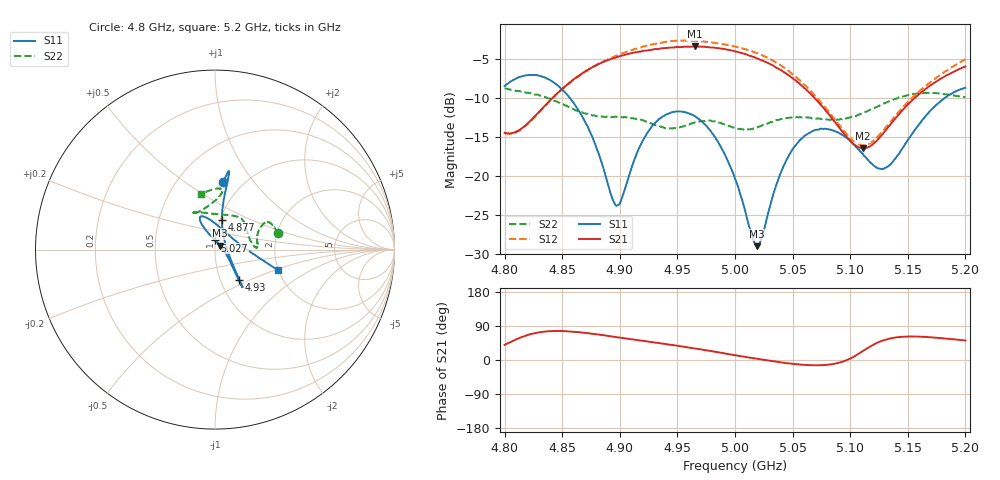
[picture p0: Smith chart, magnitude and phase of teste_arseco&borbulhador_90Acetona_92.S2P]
! Network Analyzer HP8722D
! Hewlett-Packard
! Data name: Linha & Wilkinson
! Saver's name: Rodrigo Anjos
! Comments: Teste da utilização de aquisição
! continua pelo VNA HP8722D
! Time and date: 17/4/2025 11:49
!  Frequency  S11  S21  S12  S22
# HZ  S  MA R 50
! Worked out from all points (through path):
!   401 points, 4.8 GHz to 5.2 GHz, reference 50 ohm
!   highest |S21| = -3.41 dB at 4.965 GHz (marker M1); lowest = -16.5 dB at 5.111 GHz (marker M2)
!   lowest |S11| = -29.0 dB at 5.019 GHz (marker M3), VSWR 1.07, Z = 52.8 + j2.38 ohm
!   |S11| at or under -10 dB: 4.857 GHz to 5.182 GHz (325.4 MHz wide, 6.48 % of centre)
!   |S22| runs from -14.1 to -8.8 dB; largest |S21 - S12| = 0.24
!   S11 on the Smith chart (normalised r, x): 4.8 GHz: 0.81, +0.71; 4.877 GHz: 1.02, +0.35; 4.93 GHz: 1.23, -0.43; 5.027 GHz: 1.00, +0.10; 5.2 GHz: 1.98, -0.52
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4.8e9  0.3766 83.6  0.1894 40.0  0.1885 0.1  0.3623 14.6
4.834e9  0.4296 79.6  0.2778 74.7  0.2748 38.2  0.3219 28.4
4.867e9  0.2429 79.8  0.4529 72.5  0.4489 42.7  0.2568 21.0
4.877e9  0.1718 76.8  0.5014 68.9  0.4997 41.8  0.2448 16.2
4.893e9  0.07388 44.0  0.564 62.0  0.5728 39.4  0.2393 9.0
4.898e9  0.06505 14.1  0.5792 59.9  0.5916 38.6  0.2384 6.8
4.916e9  0.147 -43.5  0.6232 52.1  0.6585 34.6  0.2318 2.9
4.93e9  0.2161 -51.1  0.6479 46.2  0.6988 30.7  0.2134 7.2
4.934e9  0.2312 -52.2  0.6529 44.6  0.7103 29.3  0.2088 9.9
4.965e9  0.2424 -53.5  0.6753 30.3  0.7341 17.6  0.2205 41.5
4.984e9  0.1709 -48.9  0.6601 21.1  0.7086 10.4  0.2226 55.6
5e9  0.09644 -35.1  0.6281 12.4  0.6752 4.6  0.2034 72.9
5.019e9  0.03563 39.2  0.5668 3.1  0.6115 -2.8  0.2052 98.5
5.027e9  0.05117 88.6  0.5353 -0.6  0.5782 -5.4  0.216 107.6
5.045e9  0.1278 115.9  0.4494 -8.5  0.4792 -11.5  0.2361 118.3
5.067e9  0.1936 116.0  0.3283 -13.8  0.343 -13.6  0.2336 120.4
5.088e9  0.1919 108.0  0.2158 -8.6  0.2238 -4.7  0.2286 111.6
5.111e9  0.1384 85.5  0.1504 23.5  0.157 30.5  0.2533 96.0
5.124e9  0.1122 57.8  0.1716 46.3  0.179 55.0  0.2799 88.4
5.134e9  0.1172 30.8  0.2099 56.4  0.2183 66.6  0.301 84.5
5.17e9  0.2638 -11.8  0.3816 60.0  0.4014 77.7  0.3408 87.1
5.2e9  0.3674 -18.0  0.5029 51.4  0.5591 75.2  0.319 104.6
